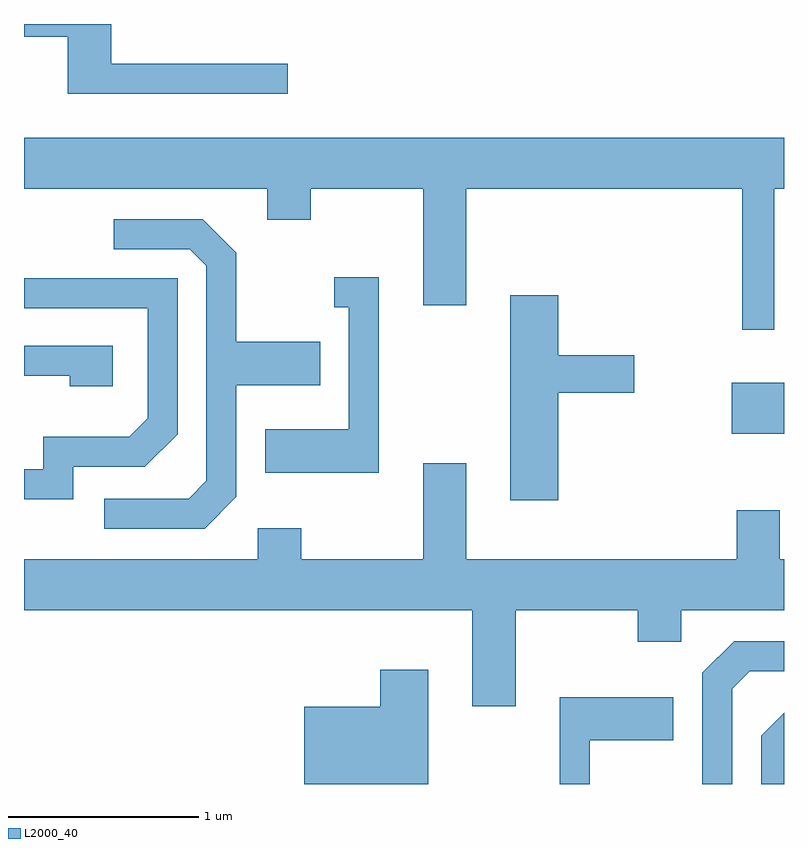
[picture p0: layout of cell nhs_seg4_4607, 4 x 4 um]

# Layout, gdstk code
import gdstk
lib = gdstk.Library(unit=1e-6, precision=1e-09)
def R(c, l, rs):  # rectangles x0, y0, x1, y1
    for r in rs: c.add(gdstk.rectangle(r[:2], r[2:], *l))
def P(c, l, *ps):  # polygons
    for p in ps: c.add(gdstk.Polygon(p, *l))
L2000_40 = (2000, 40)

nhs_seg4_4607 = lib.new_cell('nhs_seg4_4607')
R(nhs_seg4_4607, L2000_40, [(323.336,1357.826,323.611,1358.094)])
P(nhs_seg4_4607, L2000_40, [(320.998,1359.774),(320.069,1359.774),(320.069,1359.982),(319.611,1359.982),(319.611,1359.916),(319.841,1359.916),(319.841,1359.616),(320.998,1359.616)],
  [(323.559,1359.116),(323.611,1359.116),(323.611,1359.384),(319.611,1359.384),(319.611,1359.116),(320.891,1359.116),(320.891,1358.951),(321.119,1358.951),(321.119,1359.116),(321.711,1359.116),(321.711,1358.501),(321.939,1358.501),(321.939,1359.116),(323.391,1359.116),(323.391,1358.373),(323.559,1358.373)],
  [(320.729,1357.494),(320.729,1358.081),(321.169,1358.081),(321.169,1358.309),(320.729,1358.309),(320.729,1358.777),(320.552,1358.954),(320.083,1358.954),(320.083,1358.796),(320.484,1358.796),(320.571,1358.709),(320.571,1357.577),(320.479,1357.484),(320.033,1357.484),(320.033,1357.326),(320.562,1357.326)],
  [(321.479,1358.649),(321.243,1358.649),(321.243,1358.491),(321.321,1358.491),(321.321,1357.849),(320.881,1357.849),(320.881,1357.621),(321.479,1357.621)],
  [(319.869,1357.651),(320.247,1357.651),(320.419,1357.824),(320.419,1358.644),(319.611,1358.644),(319.611,1358.486),(320.261,1358.486),(320.261,1357.907),(320.164,1357.809),(319.711,1357.809),(319.711,1357.639),(319.611,1357.639),(319.611,1357.481),(319.869,1357.481)],
  [(322.424,1358.041),(322.824,1358.041),(322.824,1358.239),(322.424,1358.239),(322.424,1358.554),(322.171,1358.554),(322.171,1357.476),(322.424,1357.476)],
  [(320.079,1358.289),(319.611,1358.289),(319.611,1358.131),(319.851,1358.131),(319.851,1358.076),(320.079,1358.076)],
  [(322.199,1356.896),(322.841,1356.896),(322.841,1356.731),(323.069,1356.731),(323.069,1356.896),(323.611,1356.896),(323.611,1357.164),(323.589,1357.164),(323.589,1357.424),(323.361,1357.424),(323.361,1357.164),(321.939,1357.164),(321.939,1357.669),(321.711,1357.669),(321.711,1357.164),(321.069,1357.164),(321.069,1357.329),(320.841,1357.329),(320.841,1357.164),(319.611,1357.164),(319.611,1356.896),(321.971,1356.896),(321.971,1356.391),(322.199,1356.391)],
  [(323.339,1356.484),(323.432,1356.576),(323.611,1356.576),(323.611,1356.734),(323.349,1356.734),(323.181,1356.567),(323.181,1355.982),(323.339,1355.982)],
  [(321.739,1356.584),(321.486,1356.584),(321.486,1356.389),(321.086,1356.389),(321.086,1355.982),(321.739,1355.982)],
  [(322.589,1356.211),(323.029,1356.211),(323.029,1356.439),(322.431,1356.439),(322.431,1355.982),(322.589,1355.982)],
  [(323.611,1356.356),(323.491,1356.237),(323.491,1355.982),(323.611,1355.982)])

lib.write_gds('nhs_seg4_4607.gds')
